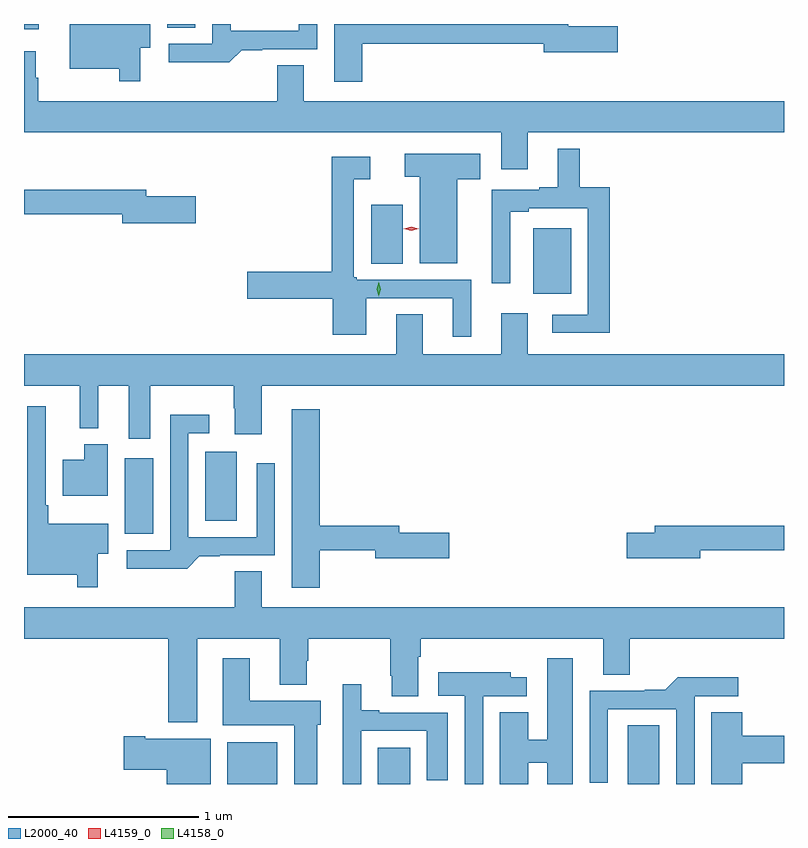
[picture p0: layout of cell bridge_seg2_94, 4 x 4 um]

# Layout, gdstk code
import gdstk
lib = gdstk.Library(unit=1e-6, precision=1e-09)
def R(c, l, rs):  # rectangles x0, y0, x1, y1
    for r in rs: c.add(gdstk.rectangle(r[:2], r[2:], *l))
def P(c, l, *ps):  # polygons
    for p in ps: c.add(gdstk.Polygon(p, *l))
L2000_40 = (2000, 40)
L4158_0 = (4158, 0)
L4159_0 = (4159, 0)

bridge_seg2_94 = lib.new_cell('bridge_seg2_94')
R(bridge_seg2_94, L2000_40, [(205.415,588.263,205.678,588.484), (206.207,588.263,206.377,588.454), (207.521,588.263,207.688,588.572), (204.875,589.579,205.024,589.978), (205.298,589.648,205.465,590.011), (207.023,590.843,207.223,591.187), (206.171,591.001,206.338,591.313), (204.344,592.235,204.421,592.263), (205.097,592.243,205.246,592.263)])
P(bridge_seg2_94, L2000_40, [(206.123,592.158),(207.08,592.158),(207.08,592.115),(207.469,592.115),(207.469,592.25),(207.208,592.25),(207.208,592.263),(205.976,592.263),(205.976,591.96),(206.123,591.96)],
  [(205.489,592.126),(205.597,592.126),(205.597,592.131),(205.887,592.131),(205.887,592.263),(205.791,592.263),(205.791,592.227),(205.431,592.227),(205.431,592.263),(205.335,592.263),(205.335,592.158),(205.107,592.158),(205.107,592.061),(205.424,592.061)],
  [(204.955,592.139),(205.009,592.139),(205.009,592.263),(204.584,592.263),(204.584,592.028),(204.846,592.028),(204.846,591.963),(204.955,591.963)],
  [(206.995,591.692),(208.344,591.692),(208.344,591.856),(205.816,591.856),(205.816,592.046),(205.676,592.046),(205.676,591.856),(204.418,591.856),(204.418,591.98),(204.406,591.98),(204.406,592.12),(204.344,592.12),(204.344,591.692),(206.855,591.692),(206.855,591.498),(206.995,591.498)],
  [(207.428,591.403),(207.269,591.403),(207.269,591.607),(207.152,591.607),(207.152,591.403),(207.056,591.403),(207.056,591.39),(206.807,591.39),(206.807,590.898),(206.904,590.898),(206.904,591.274),(207.001,591.274),(207.001,591.294),(207.312,591.294),(207.312,590.733),(207.123,590.733),(207.123,590.637),(207.428,590.637)],
  [(206.623,591.446),(206.746,591.446),(206.746,591.58),(206.349,591.58),(206.349,591.458),(206.426,591.458),(206.426,591.005),(206.623,591.005)],
  [(206.698,590.916),(206.094,590.916),(206.094,590.931),(206.079,590.931),(206.079,591.446),(206.167,591.446),(206.167,591.565),(205.963,591.565),(205.963,590.96),(205.518,590.96),(205.518,590.818),(205.97,590.818),(205.97,590.627),(206.146,590.627),(206.146,590.82),(206.6,590.82),(206.6,590.616),(206.698,590.616)],
  [(205.249,591.357),(204.988,591.357),(204.988,591.391),(204.344,591.391),(204.344,591.262),(204.86,591.262),(204.86,591.215),(205.249,591.215)],
  [(205.009,590.36),(205.447,590.36),(205.447,590.24),(205.454,590.24),(205.454,590.103),(205.594,590.103),(205.594,590.36),(208.344,590.36),(208.344,590.524),(206.995,590.524),(206.995,590.74),(206.855,590.74),(206.855,590.524),(206.443,590.524),(206.443,590.735),(206.303,590.735),(206.303,590.524),(204.344,590.524),(204.344,590.36),(204.638,590.36),(204.638,590.135),(204.736,590.135),(204.736,590.36),(204.896,590.36),(204.896,590.079),(205.009,590.079)],
  [(204.733,589.475),(204.787,589.475),(204.787,589.633),(204.472,589.633),(204.472,589.729),(204.459,589.729),(204.459,590.251),(204.362,590.251),(204.362,589.364),(204.624,589.364),(204.624,589.299),(204.733,589.299)],
  [(205.901,589.494),(206.192,589.494),(206.192,589.451),(206.581,589.451),(206.581,589.586),(206.32,589.586),(206.32,589.622),(205.901,589.622),(205.901,590.236),(205.754,590.236),(205.754,589.296),(205.901,589.296)],
  [(205.267,589.462),(205.375,589.462),(205.375,589.467),(205.665,589.467),(205.665,589.951),(205.569,589.951),(205.569,589.563),(205.209,589.563),(205.209,590.109),(205.318,590.109),(205.318,590.206),(205.113,590.206),(205.113,589.494),(204.885,589.494),(204.885,589.397),(205.202,589.397)],
  [(204.784,590.05),(204.662,590.05),(204.662,589.969),(204.548,589.969),(204.548,589.781),(204.784,589.781)],
  [(207.904,589.494),(208.344,589.494),(208.344,589.622),(207.665,589.622),(207.665,589.586),(207.516,589.586),(207.516,589.451),(207.904,589.451)],
  [(205.255,589.028),(205.691,589.028),(205.691,588.785),(205.831,588.785),(205.831,588.912),(205.839,588.912),(205.839,589.028),(206.272,589.028),(206.272,588.832),(206.279,588.832),(206.279,588.724),(206.419,588.724),(206.419,588.932),(206.432,588.932),(206.432,589.028),(207.392,589.028),(207.392,588.838),(207.532,588.838),(207.532,589.028),(208.344,589.028),(208.344,589.192),(205.594,589.192),(205.594,589.382),(205.454,589.382),(205.454,589.192),(204.344,589.192),(204.344,589.028),(205.103,589.028),(205.103,588.587),(205.255,588.587)],
  [(205.888,588.576),(205.906,588.576),(205.906,588.7),(205.531,588.7),(205.531,588.925),(205.391,588.925),(205.391,588.572),(205.766,588.572),(205.766,588.263),(205.888,588.263)],
  [(206.998,588.376),(207.098,588.376),(207.098,588.263),(207.232,588.263),(207.232,588.925),(207.098,588.925),(207.098,588.495),(206.998,588.495),(206.998,588.641),(206.849,588.641),(206.849,588.263),(206.998,588.263)],
  [(206.76,588.726),(206.989,588.726),(206.989,588.824),(206.907,588.824),(206.907,588.85),(206.523,588.85),(206.523,588.728),(206.664,588.728),(206.664,588.263),(206.76,588.263)],
  [(207.873,588.726),(208.102,588.726),(208.102,588.824),(207.785,588.824),(207.719,588.758),(207.611,588.758),(207.611,588.753),(207.321,588.753),(207.321,588.27),(207.417,588.27),(207.417,588.657),(207.777,588.657),(207.777,588.263),(207.873,588.263)],
  [(206.118,588.543),(206.465,588.543),(206.465,588.282),(206.575,588.282),(206.575,588.639),(206.215,588.639),(206.215,588.652),(206.119,588.652),(206.119,588.787),(206.021,588.787),(206.021,588.263),(206.118,588.263)],
  [(208.124,588.371),(208.344,588.371),(208.344,588.518),(208.124,588.518),(208.124,588.641),(207.962,588.641),(207.962,588.263),(208.124,588.263)],
  [(205.327,588.502),(204.982,588.502),(204.982,588.515),(204.87,588.515),(204.87,588.337),(205.094,588.337),(205.094,588.263),(205.327,588.263)])
P(bridge_seg2_94, L4158_0, [(206.211,590.831),(206.211,590.832),(206.201,590.867),(206.21,590.903),(206.21,590.903),(206.21,590.903),(206.221,590.868),(206.212,590.832)])
P(bridge_seg2_94, L4159_0, [(206.382,591.175),(206.342,591.185),(206.342,591.185),(206.342,591.185),(206.382,591.195),(206.421,591.185),(206.422,591.185),(206.421,591.185)])

lib.write_gds('bridge_seg2_94.gds')
